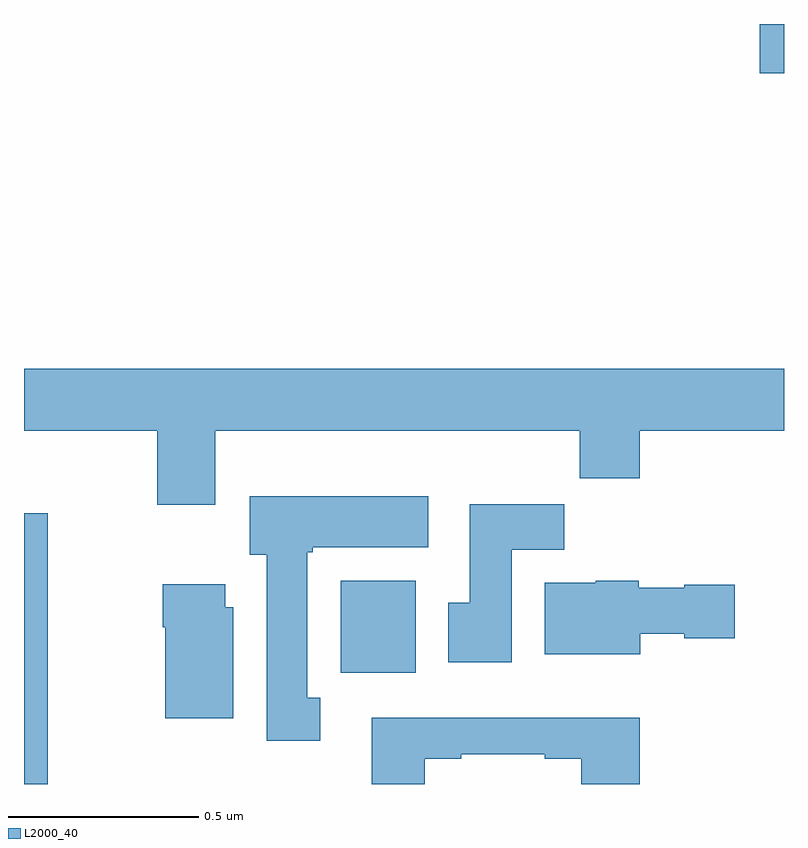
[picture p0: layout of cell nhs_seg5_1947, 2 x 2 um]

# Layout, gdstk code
import gdstk
lib = gdstk.Library(unit=1e-6, precision=1e-09)
def R(c, l, rs):  # rectangles x0, y0, x1, y1
    for r in rs: c.add(gdstk.rectangle(r[:2], r[2:], *l))
def P(c, l, *ps):  # polygons
    for p in ps: c.add(gdstk.Polygon(p, *l))
L2000_40 = (2000, 40)

nhs_seg5_1947 = lib.new_cell('nhs_seg5_1947')
R(nhs_seg5_1947, L2000_40, [(137,887.799,137.063,888.512), (137.834,888.092,138.031,888.334), (138.936,889.67,139,889.799)])
P(nhs_seg5_1947, L2000_40, [(137.503,888.728),(138.463,888.728),(138.463,888.604),(138.62,888.604),(138.62,888.728),(139,888.728),(139,888.892),(137,888.892),(137,888.728),(137.351,888.728),(137.351,888.534),(137.503,888.534)],
  [(137.779,888.026),(137.746,888.026),(137.746,888.409),(137.76,888.409),(137.76,888.422),(138.064,888.422),(138.064,888.556),(137.594,888.556),(137.594,888.402),(137.639,888.402),(137.639,887.913),(137.779,887.913)],
  [(138.283,888.416),(138.422,888.416),(138.422,888.535),(138.173,888.535),(138.173,888.276),(138.116,888.276),(138.116,888.12),(138.283,888.12)],
  [(138.622,888.194),(138.738,888.194),(138.738,888.182),(138.871,888.182),(138.871,888.324),(138.738,888.324),(138.738,888.316),(138.618,888.316),(138.618,888.334),(138.504,888.334),(138.504,888.328),(138.371,888.328),(138.371,888.14),(138.622,888.14)],
  [(137.551,888.264),(137.53,888.264),(137.53,888.325),(137.365,888.325),(137.365,888.212),(137.372,888.212),(137.372,887.972),(137.551,887.972)],
  [(138.055,887.865),(138.151,887.865),(138.151,887.877),(138.371,887.877),(138.371,887.865),(138.467,887.865),(138.467,887.799),(138.62,887.799),(138.62,887.974),(137.915,887.974),(137.915,887.799),(138.055,887.799)])

lib.write_gds('nhs_seg5_1947.gds')
